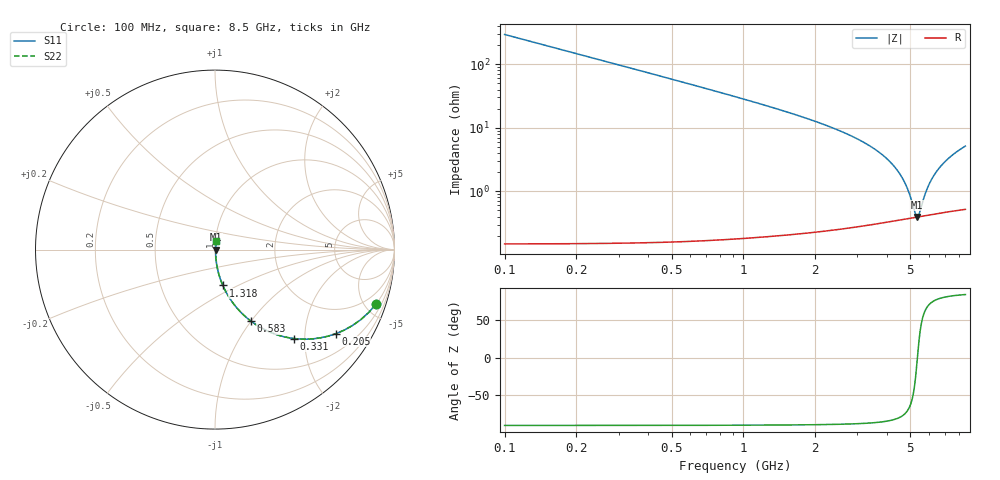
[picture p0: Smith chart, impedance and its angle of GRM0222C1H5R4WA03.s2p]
!Murata Part Number: GRM0222C1H5R4WA03
!These Parameters are Measured in Series Mode Connection
!Data Generated on Mar 30, 2021
!  o--ll--o
!Port1  Port2
!  o------o
!Operation Temp=25[degC], DC Bias Voltage=0[V]
!Freq. Start=100[MHz] Stop=9[GHz] 401[Steps]
# Hz S RI R 50
!Freq.(Hz) S11(Real) S11(Imag) S21(Real) S21(Imag) S12(Real) S12(Imag) S22(Real) S22(Imag)
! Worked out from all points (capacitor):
!   401 points, 100 MHz to 8.5 GHz, reference 50 ohm
!   read as one part in series: C = 5.4 pF near 142 MHz
!   lowest |Z| = 395 mohm at 5.35 GHz (marker M1)
!   series resonance near 5.35 GHz, so ESL is about 160 pH
!   S11 on the Smith chart (normalised r, x): 100 MHz: 1.00, -5.89; 205 MHz: 1.00, -2.87; 331 MHz: 1.00, -1.77; 583 MHz: 1.00, -1.00; 1.318 GHz: 1.00, -0.42; 8.5 GHz: 1.01, +0.10
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1e8  0.8966 -0.3043  0.1034 0.3043  0.1034 0.3043  0.8966 -0.3043
2.05e8  0.6731 -0.4686  0.3269 0.4686  0.3269 0.4686  0.6731 -0.4686
3.31e8  0.4403 -0.4956  0.5597 0.4956  0.5597 0.4956  0.4403 -0.4956
4.57e8  0.291 -0.453  0.709 0.453  0.709 0.453  0.291 -0.453
5.83e8  0.2003 -0.3986  0.7997 0.3986  0.7997 0.3986  0.2003 -0.3986
8.77e8  0.0976 -0.2942  0.9024 0.2942  0.9024 0.2942  0.0976 -0.2942
1.318e9  0.0438 -0.1999  0.9562 0.1999  0.9562 0.1999  0.0438 -0.1999
1.507e9  0.0331 -0.1732  0.9669 0.1732  0.9669 0.1732  0.0331 -0.1732
2.914e9  0.00761 -0.0698  0.9924 0.0698  0.9924 0.0698  0.00761 -0.0698
3.733e9  0.00471 -0.0397  0.9953 0.0397  0.9953 0.0397  0.00471 -0.0397
4.3e9  0.00398 -0.0237  0.996 0.0237  0.996 0.0237  0.00398 -0.0237
4.783e9  0.0038 -0.0121  0.9962 0.0121  0.9962 0.0121  0.0038 -0.0121
4.972e9  0.00381 -0.00789  0.9962 0.00789  0.9962 0.00789  0.00381 -0.00789
5.245e9  0.00388 -0.00213  0.9961 0.00213  0.9961 0.00213  0.00388 -0.00213
5.35e9  0.00393 -8e-06  0.9961 8e-06  0.9961 8e-06  0.00393 -8e-06
5.455e9  0.00398 0.00208  0.996 -0.00208  0.996 -0.00208  0.00398 0.00208
5.707e9  0.00414 0.00691  0.9959 -0.00691  0.9959 -0.00691  0.00414 0.00691
5.959e9  0.00434 0.0115  0.9957 -0.0115  0.9957 -0.0115  0.00434 0.0115
6.253e9  0.00462 0.0167  0.9954 -0.0167  0.9954 -0.0167  0.00462 0.0167
6.631e9  0.00503 0.023  0.995 -0.023  0.995 -0.023  0.00503 0.023
7.114e9  0.00564 0.0307  0.9944 -0.0307  0.9944 -0.0307  0.00564 0.0307
8.5e9  0.00775 0.0506  0.9922 -0.0506  0.9922 -0.0506  0.00775 0.0506
